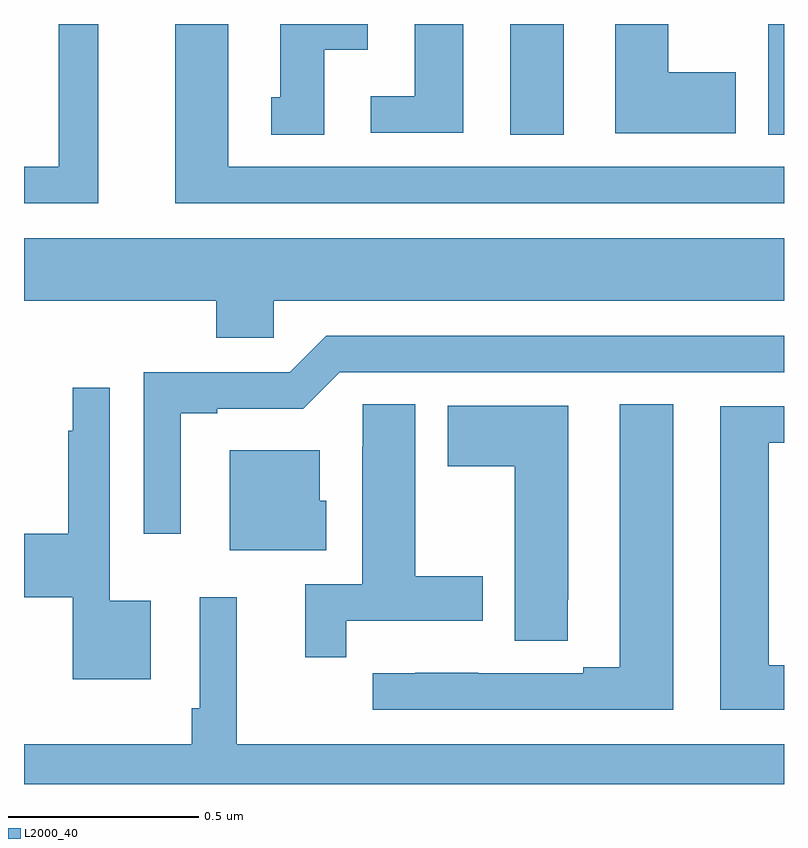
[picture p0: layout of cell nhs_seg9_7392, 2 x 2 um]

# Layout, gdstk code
import gdstk
lib = gdstk.Library(unit=1e-6, precision=1e-09)
def R(c, l, rs):  # rectangles x0, y0, x1, y1
    for r in rs: c.add(gdstk.rectangle(r[:2], r[2:], *l))
def P(c, l, *ps):  # polygons
    for p in ps: c.add(gdstk.Polygon(p, *l))
L2000_40 = (2000, 40)

nhs_seg9_7392 = lib.new_cell('nhs_seg9_7392')
R(nhs_seg9_7392, L2000_40, [(205.28,1178.209,205.42,1178.5), (205.958,1178.209,206,1178.5)])
P(nhs_seg9_7392, L2000_40, [(204.79,1178.432),(204.904,1178.432),(204.904,1178.5),(204.674,1178.5),(204.674,1178.307),(204.65,1178.307),(204.65,1178.209),(204.79,1178.209)],
  [(205.873,1178.373),(205.696,1178.373),(205.696,1178.5),(205.556,1178.5),(205.556,1178.213),(205.873,1178.213)],
  [(206,1178.124),(204.538,1178.124),(204.538,1178.5),(204.398,1178.5),(204.398,1178.028),(206,1178.028)],
  [(205.156,1178.5),(205.028,1178.5),(205.028,1178.31),(204.912,1178.31),(204.912,1178.214),(205.156,1178.214)],
  [(204.196,1178.5),(204.092,1178.5),(204.092,1178.124),(204,1178.124),(204,1178.028),(204.196,1178.028)],
  [(204.657,1177.772),(206,1177.772),(206,1177.936),(204,1177.936),(204,1177.772),(204.506,1177.772),(204.506,1177.674),(204.657,1177.674)],
  [(204.412,1177.476),(204.508,1177.476),(204.508,1177.488),(204.735,1177.488),(204.831,1177.584),(206,1177.584),(206,1177.68),(204.795,1177.68),(204.699,1177.584),(204.315,1177.584),(204.315,1177.158),(204.412,1177.158)],
  [(204.334,1176.982),(204.225,1176.982),(204.225,1177.543),(204.128,1177.543),(204.128,1177.43),(204.117,1177.43),(204.117,1177.158),(204,1177.158),(204,1176.992),(204.128,1176.992),(204.128,1176.776),(204.334,1176.776)],
  [(205.708,1177.499),(205.568,1177.499),(205.568,1176.807),(205.472,1176.807),(205.472,1176.792),(205.196,1176.792),(205.196,1176.793),(205.03,1176.793),(205.03,1176.792),(204.918,1176.792),(204.918,1176.696),(205.708,1176.696)],
  [(204.848,1176.93),(205.207,1176.93),(205.207,1177.047),(205.03,1177.047),(205.03,1177.499),(204.891,1177.499),(204.891,1177.388),(204.89,1177.388),(204.89,1177.026),(204.74,1177.026),(204.74,1176.834),(204.848,1176.834)],
  [(205.431,1176.985),(205.432,1176.985),(205.432,1177.495),(205.115,1177.495),(205.115,1177.336),(205.292,1177.336),(205.292,1176.877),(205.431,1176.877)],
  [(206,1176.812),(205.96,1176.812),(205.96,1177.398),(206,1177.398),(206,1177.494),(205.832,1177.494),(205.832,1176.696),(206,1176.696)],
  [(204.796,1177.245),(204.778,1177.245),(204.778,1177.378),(204.542,1177.378),(204.542,1177.115),(204.796,1177.115)],
  [(206,1176.604),(204.56,1176.604),(204.56,1176.991),(204.462,1176.991),(204.462,1176.7),(204.442,1176.7),(204.442,1176.604),(204,1176.604),(204,1176.5),(206,1176.5)])

lib.write_gds('nhs_seg9_7392.gds')
